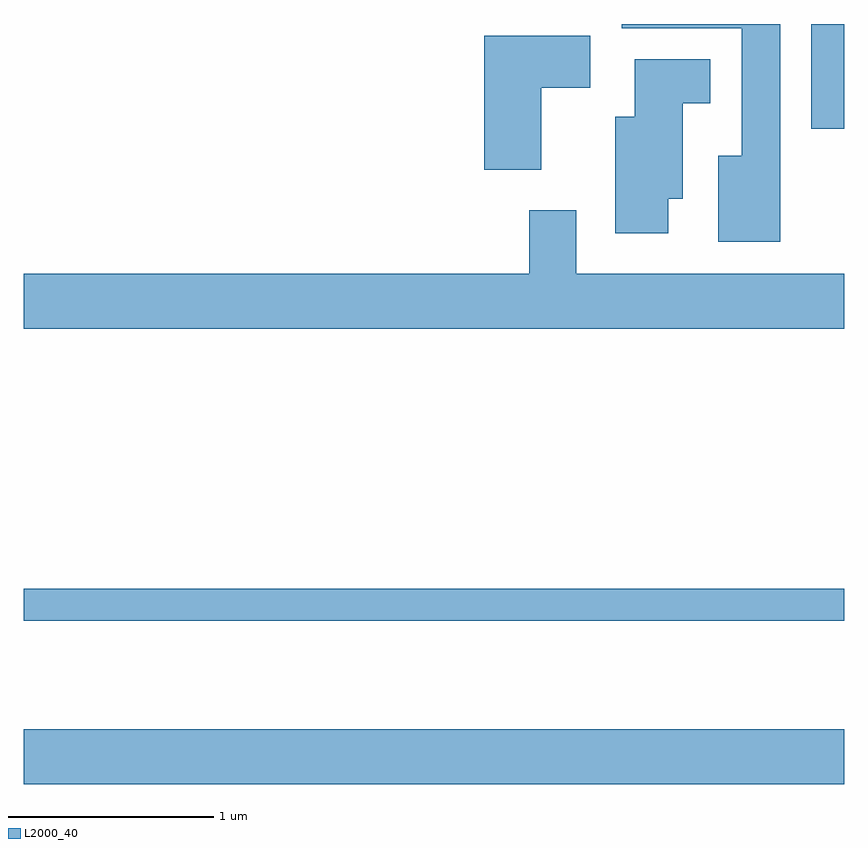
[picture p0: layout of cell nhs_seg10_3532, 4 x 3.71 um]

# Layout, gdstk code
import gdstk
lib = gdstk.Library(unit=1e-6, precision=1e-09)
def R(c, l, rs):  # rectangles x0, y0, x1, y1
    for r in rs: c.add(gdstk.rectangle(r[:2], r[2:], *l))
def P(c, l, *ps):  # polygons
    for p in ps: c.add(gdstk.Polygon(p, *l))
L2000_40 = (2000, 40)

nhs_seg10_3532 = lib.new_cell('nhs_seg10_3532')
R(nhs_seg10_3532, L2000_40, [(289.611,2102.816,293.611,2103.084), (289.611,2103.611,293.611,2103.769), (293.451,2106.011,293.611,2106.522)])
P(nhs_seg10_3532, L2000_40, [(293.299,2106.522),(292.526,2106.522),(292.526,2106.501),(293.111,2106.501),(293.111,2105.879),(292.996,2105.879),(292.996,2105.461),(293.299,2105.461)],
  [(292.134,2106.211),(292.374,2106.211),(292.374,2106.464),(291.856,2106.464),(291.856,2105.811),(292.134,2105.811)],
  [(292.754,2105.671),(292.824,2105.671),(292.824,2106.136),(292.959,2106.136),(292.959,2106.349),(292.591,2106.349),(292.591,2106.069),(292.496,2106.069),(292.496,2105.501),(292.754,2105.501)],
  [(293.611,2105.304),(292.304,2105.304),(292.304,2105.614),(292.076,2105.614),(292.076,2105.304),(289.611,2105.304),(289.611,2105.036),(293.611,2105.036)])

lib.write_gds('nhs_seg10_3532.gds')
